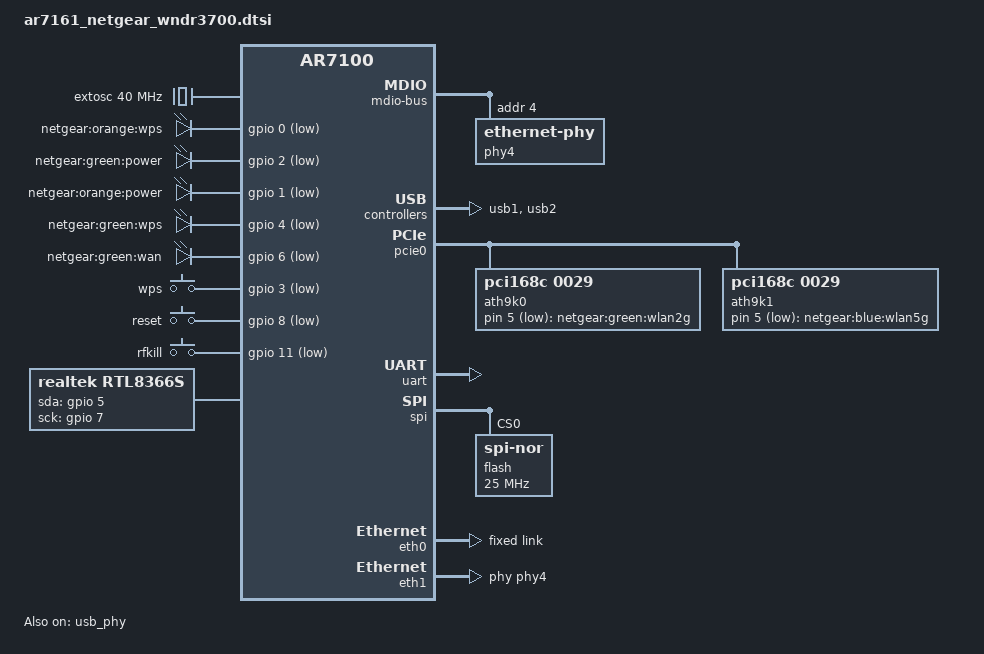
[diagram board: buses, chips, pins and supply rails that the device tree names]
// SPDX-License-Identifier: GPL-2.0-or-later OR MIT
/dts-v1/;

#include <dt-bindings/gpio/gpio.h>
#include <dt-bindings/input/input.h>

#include "ar7100.dtsi"

/ {
	aliases {
		led-boot = &power_orange;
		led-failsafe = &power_orange;
		led-running = &power_green;
		led-upgrade = &power_orange;
	};

	chosen {
		bootargs = "console=ttyS0,115200";
	};

	extosc: ref {
		compatible = "fixed-clock";
		#clock-cells = <0>;
		clock-output-names = "ref";
		clock-frequency = <40000000>;
	};

	reset-leds {
		compatible = "reset-leds";

		usb_led {
			label = "netgear:green:usb";
			resets = <&rst 12>;
			trigger-sources = <&usb_ochi_port>, <&usb_echi_port>;
			linux,default-trigger = "usbport";
		};
	};

	gpio-leds {
		compatible = "gpio-leds";

		wps {
			label = "netgear:orange:wps";
			gpios = <&gpio 0 GPIO_ACTIVE_LOW>;
			default-state = "off";
		};

		power_green: power_green {
			label = "netgear:green:power";
			gpios = <&gpio 2 GPIO_ACTIVE_LOW>;
			default-state = "off";
		};

		power_orange: power_orange {
			label = "netgear:orange:power";
			gpios = <&gpio 1 GPIO_ACTIVE_LOW>;
			default-state = "on";
		};

		wps_green {
			label = "netgear:green:wps";
			gpios = <&gpio 4 GPIO_ACTIVE_LOW>;
			default-state = "off";
		};

		wan_green {
			label = "netgear:green:wan";
			gpios = <&gpio 6 GPIO_ACTIVE_LOW>;
			default-state = "off";
		};
	};

	ath9k-leds {
		compatible = "gpio-leds";
		wlan2g {
			label = "netgear:green:wlan2g";
			gpios = <&ath9k0 5 GPIO_ACTIVE_LOW>;
			default-state = "off";
			linux,default-trigger = "phy0tpt";
		};
		wlan5g {
			label = "netgear:blue:wlan5g";
			gpios = <&ath9k1 5 GPIO_ACTIVE_LOW>;
			default-state = "off";
			linux,default-trigger = "phy1tpt";
		};
	};

	gpio-keys-polled {
		compatible = "gpio-keys-polled";
		poll-interval = <100>;

		wps {
			label = "wps";
			linux,code = <KEY_WPS_BUTTON>;
			gpios = <&gpio 3 GPIO_ACTIVE_LOW>;
		};

		reset {
			label = "reset";
			linux,code = <KEY_RESTART>;
			gpios = <&gpio 8 GPIO_ACTIVE_LOW>;
		};

		rfkill {
			label = "rfkill";
			linux,code = <KEY_RFKILL>;
			gpios = <&gpio 11 GPIO_ACTIVE_LOW>;
		};
	};

	rtl8366s {
		compatible = "realtek,rtl8366s";
		gpio-sda = <&gpio 5 GPIO_ACTIVE_HIGH>;
		gpio-sck = <&gpio 7 GPIO_ACTIVE_HIGH>;

		mdio-bus {
			#address-cells = <1>;
			#size-cells = <0>;
			status = "okay";

			phy-mask = <0x10>;

			phy4: ethernet-phy@4 {
				reg = <4>;
				phy-mode = "rgmii";
			};
		};
	};
};

&usb_phy {
	status = "okay";
};

&usb1 {
	#address-cells = <1>;
	#size-cells = <0>;
	status = "okay";

	usb_ochi_port: port@1 {
		reg = <1>;
		#trigger-source-cells = <0>;
	};
};

&usb2 {
	#address-cells = <1>;
	#size-cells = <0>;
	status = "okay";

	usb_echi_port: port@1 {
		reg = <1>;
		#trigger-source-cells = <0>;
	};
};

&pcie0 {
	status = "okay";

	ath9k0: wifi@0,11 {
		compatible = "pci168c,0029";
		reg = <0x8800 0 0 0 0x10000>;
		mtd-mac-address = <&art 0x0>;
		qca,no-eeprom;
		#gpio-cells = <2>;
		gpio-controller;
	};

	ath9k1: wifi@0,12 {
		compatible = "pci168c,0029";
		reg = <0x9000 0 0 0 0x10000>;
		mtd-mac-address = <&art 0xc>;
		qca,no-eeprom;
		#gpio-cells = <2>;
		gpio-controller;
	};
};

&uart {
	status = "okay";
};

&spi {
	status = "okay";
	num-cs = <1>;

	flash@0 {
		compatible = "jedec,spi-nor";
		reg = <0>;
		spi-max-frequency = <25000000>;

		partitions: partitions {
			compatible = "fixed-partitions";
			#address-cells = <1>;
			#size-cells = <1>;
		};
	};
};

&eth0 {
	status = "okay";

	pll-data = <0x11110000 0x00001099 0x00991099>;

	mtd-mac-address = <&art 0x00>;

	fixed-link {
		speed = <1000>;
		full-duplex;
	};
};

&eth1 {
	status = "okay";

	pll-data = <0x11110000 0x00001099 0x00991099>;

	mtd-mac-address = <&art 0x06>;

	phy-handle = <&phy4>;
};
